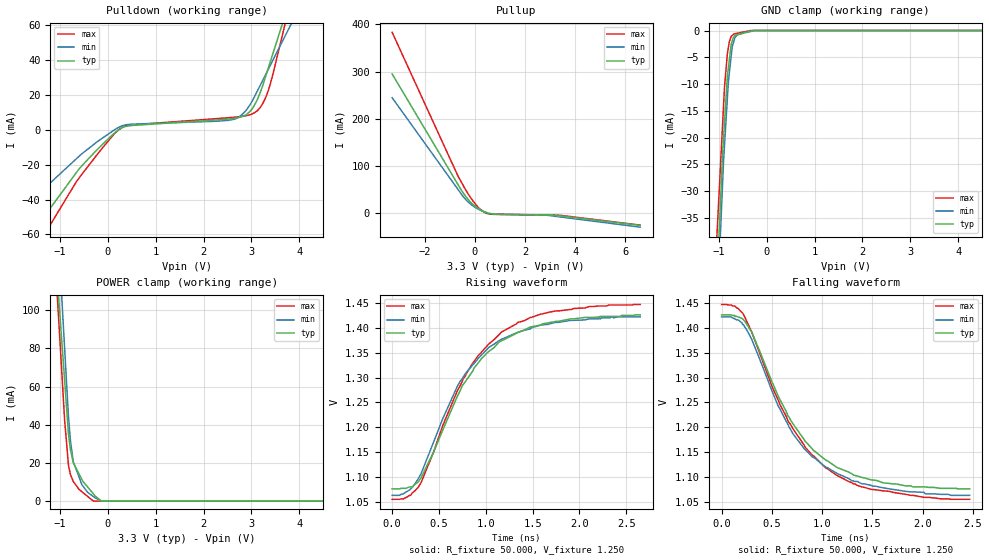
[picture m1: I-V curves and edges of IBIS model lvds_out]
[IBIS Ver]   3.2
[Comment Char] |_char
[File Name]   ads5463.ibs
[File Rev]   3.0
[Source]
| This model file was created by Teraspeed Consulting Group LLC
| (http://www.teraspeed.com/).
[Date]   09-03-2008
[Notes]   Quality Check of this IBIS model: Model Passes IBIS Check
   Model parses into ICX IS. Simulation done with Hyperlynx.
   1. MIN TYP MAX information is based on Temperature and Voltage
   characteristics only.
[Disclaimer]
| This model is designed as an aid for customers of Texas Instruments.
| TI and its licensors and suppliers make no warranties, either expressed
| or implied, with respect to this  model, including the warranties of
| merchantability or fitness for a particular purpose.
| The model is provided solely on an "as is" basis. The entire risk as to
| its quality and performance is with the customer.
[Copyright]
|  (C) Copyright 2008 Texas Instruments Incorporated. All rights reserved.
[Component]   ADS5463
[Manufacturer] TI
[Package]
| variable   typ   min   max
R_pkg  1.550E-01   1.256E-01   2.000E-01
L_pkg  2.837E-09   2.298E-09   3.660E-09
C_pkg  6.953E-13   5.633E-13   8.970E-13
[Pin] signal_name  model_name  R_pin  L_pin C_pin
1   DVDD3   POWER   2.000E-01 3.660E-09 8.970E-13
2   GND   GND   1.871E-01 3.424E-09 8.391E-13
3   AVDD5   POWER   1.751E-01 3.204E-09 7.853E-13
4   NC   NC   1.641E-01 3.003E-09 7.359E-13
5   NC   NC   1.542E-01 2.821E-09 6.915E-13
6   VREF   term   1.455E-01 2.663E-09 6.527E-13
7   GND   GND   1.382E-01 2.530E-09 6.200E-13
8   AVDD5   POWER   1.324E-01 2.423E-09 5.939E-13
9   GND   GND   1.282E-01 2.346E-09 5.749E-13
10  CLK   term   1.256E-01 2.298E-09 5.633E-13
11  _CLK   term   1.256E-01 2.298E-09 5.633E-13
12  GND   GND   1.282E-01 2.346E-09 5.749E-13
13  AVDD5   POWER   1.324E-01 2.423E-09 5.939E-13
14  AVDD5   POWER   1.382E-01 2.530E-09 6.200E-13
15  GND   GND   1.455E-01 2.663E-09 6.527E-13
16  AIN   term   1.542E-01 2.821E-09 6.915E-13
17  _AIN   term   1.641E-01 3.003E-09 7.359E-13
18  GND   GND   1.751E-01 3.204E-09 7.853E-13
19  AVDD5   POWER   1.871E-01 3.424E-09 8.391E-13
20  GND   GND   2.000E-01 3.660E-09 8.970E-13
21  AVDD5   POWER   2.000E-01 3.660E-09 8.970E-13
22  GND   GND   1.871E-01 3.424E-09 8.391E-13
23  AVDD5   POWER   1.751E-01 3.204E-09 7.853E-13
24  GND   GND   1.641E-01 3.003E-09 7.359E-13
25  AVDD5   POWER   1.542E-01 2.821E-09 6.915E-13
26  GND   GND   1.455E-01 2.663E-09 6.527E-13
27  AVDD5   POWER   1.382E-01 2.530E-09 6.200E-13
28  GND   GND   1.324E-01 2.423E-09 5.939E-13
29  RESERVED  term   1.282E-01 2.346E-09 5.749E-13
30  GND   GND   1.256E-01 2.298E-09 5.633E-13
31  AVDD5   POWER   1.256E-01 2.298E-09 5.633E-13
32  GND   GND   1.282E-01 2.346E-09 5.749E-13
33  RESERVED  term   1.324E-01 2.423E-09 5.939E-13
34  GND   GND   1.382E-01 2.530E-09 6.200E-13
35  AVDD3   POWER   1.455E-01 2.663E-09 6.527E-13
36  GND   GND   1.542E-01 2.821E-09 6.915E-13
37  AVDD3   POWER   1.641E-01 3.003E-09 7.359E-13
38  GND   GND   1.751E-01 3.204E-09 7.853E-13
39  AVDD3   POWER   1.871E-01 3.424E-09 8.391E-13
40  GND   GND   2.000E-01 3.660E-09 8.970E-13
41  _OVR   lvds_out  2.000E-01 3.660E-09 8.970E-13
42  OVR   lvds_out  1.871E-01 3.424E-09 8.391E-13
43  NC   NC   1.751E-01 3.204E-09 7.853E-13
44  NC   NC   1.641E-01 3.003E-09 7.359E-13
45  NC   NC   1.542E-01 2.821E-09 6.915E-13
46  NC   NC   1.455E-01 2.663E-09 6.527E-13
47  NC   NC   1.382E-01 2.530E-09 6.200E-13
48  NC   NC   1.324E-01 2.423E-09 5.939E-13
49  NC   NC   1.282E-01 2.346E-09 5.749E-13
50  NC   NC   1.256E-01 2.298E-09 5.633E-13
51  DVDD3   POWER   1.256E-01 2.298E-09 5.633E-13
52  GND   GND   1.282E-01 2.346E-09 5.749E-13
53  _D0   lvds_out  1.324E-01 2.423E-09 5.939E-13
54  D0   lvds_out  1.382E-01 2.530E-09 6.200E-13
55  _D1   lvds_out  1.455E-01 2.663E-09 6.527E-13
56  D1   lvds_out  1.542E-01 2.821E-09 6.915E-13
57  _D2   lvds_out  1.641E-01 3.003E-09 7.359E-13
58  D2   lvds_out  1.751E-01 3.204E-09 7.853E-13
59  _D3   lvds_out  1.871E-01 3.424E-09 8.391E-13
60  D3   lvds_out  2.000E-01 3.660E-09 8.970E-13
61  _D4   lvds_out  2.000E-01 3.660E-09 8.970E-13
62  D4   lvds_out  1.871E-01 3.424E-09 8.391E-13
63  _D5   lvds_out  1.751E-01 3.204E-09 7.853E-13
64  D5   lvds_out  1.641E-01 3.003E-09 7.359E-13
65  GND   GND   1.542E-01 2.821E-09 6.915E-13
66  DVDD3   POWER   1.455E-01 2.663E-09 6.527E-13
67  _D6   lvds_out  1.382E-01 2.530E-09 6.200E-13
68  D6   lvds_out  1.324E-01 2.423E-09 5.939E-13
69  _D7   lvds_out  1.282E-01 2.346E-09 5.749E-13
70  D7   lvds_out  1.256E-01 2.298E-09 5.633E-13
71  _D8   lvds_out  1.256E-01 2.298E-09 5.633E-13
72  D8   lvds_out  1.282E-01 2.346E-09 5.749E-13
73  _D9   lvds_out  1.324E-01 2.423E-09 5.939E-13
74  D9   lvds_out  1.382E-01 2.530E-09 6.200E-13
75  _D10   lvds_out  1.455E-01 2.663E-09 6.527E-13
76  D10   lvds_out  1.542E-01 2.821E-09 6.915E-13
77  D11(msb)  lvds_out  1.641E-01 3.003E-09 7.359E-13
78  _D11(msb) lvds_out  1.751E-01 3.204E-09 7.853E-13
79  _DRY   lvds_out  1.871E-01 3.424E-09 8.391E-13
80  DRY   lvds_out  2.000E-01 3.660E-09 8.970E-13
[Diff Pin] inv_pin vdiff tdelay_typ tdelay_min tdelay_max
10   11   NA   NA   NA   NA
16   17   NA   NA   NA   NA
42   41   NA   NA   NA   NA
54   53   NA   NA   NA   NA
56   55   NA   NA   NA   NA
58   57   NA   NA   NA   NA
60   59   NA   NA   NA   NA
62   61   NA   NA   NA   NA
64   63   NA   NA   NA   NA
68   67   NA   NA   NA   NA
70   69   NA   NA   NA   NA
72   71   NA   NA   NA   NA
74   73   NA   NA   NA   NA
76   75   NA   NA   NA   NA
78   77   NA   NA   NA   NA
80   79   NA   NA   NA   NA
|[Model]   lvds_out
|Model_type Output
|Vref=1.250E+00
|Rref=5.000E+01
|Cref=0.0E+00
|Vmeas=1.250E+00
|C_comp   5.750E-13   5.750E-13   5.750E-13
|[Voltage Range]   3.300E+00   3.000E+00   3.600E+00
|[POWER Clamp Reference]   3.300E+00   3.000E+00   3.600E+00
|[GND Clamp Reference]   0.000E+00   0.000E+00   0.000E+00
|[Pullup Reference]   3.300E+00   3.000E+00   3.600E+00
|[Pulldown Reference]   0.000E+00   0.000E+00   0.000E+00
|[Temperature Range]   25   85   -40
|[GND Clamp]
|-3.60000V   -572.930mA   -589.171mA   -487.460mA
|-3.30000V   -511.353mA   -526.409mA   -434.848mA
|-3.00000V   -449.777mA   -463.646mA   -382.236mA
|-920.000mV   -22.8497mA   -28.4912mA   -17.4611mA
|-900.000mV   -19.9808mA   -24.3070mA   -13.9536mA
|-880.000mV   -17.1119mA   -21.3742mA   -10.4461mA
|-820.000mV   -8.50527mA   -12.5756mA   -4.28502mA
|-800.000mV   -7.01330mA   -9.64279mA   -3.18512mA
|-780.000mV   -5.52134mA   -8.00185mA   -2.08522mA
|-740.000mV   -2.53741mA   -4.71999mA   -1.08921mA
|-720.000mV   -1.97449mA   -3.07905mA   -937.856uA
|-700.000mV   -1.41157mA   -2.46248mA   -786.503uA
|-680.000mV   -1.17109mA   -1.84590mA   -635.150uA
|-660.000mV   -930.622uA   -1.22933mA   -597.788uA
|-600.000mV   -773.576uA   -744.839uA   -485.703uA
|-480.000mV   -459.484uA   -446.904uA   -261.532uA
|-340.000mV   -191.452uA   -99.3119uA   0.00000A
|-300.000mV   -114.871uA   0.00000A   0.00000A
|-240.000mV   0.00000A   0.00000A   0.00000A
|0.00000V   0.00000A   0.00000A   0.00000A
|6.00000V   0.00000A   0.00000A   0.00000A
|6.60000V   0.00000A   0.00000A   0.00000A
|7.20000V   0.00000A   0.00000A   0.00000A
|[POWER Clamp]
|6.90000V   0.00000A   0.00000A   0.00000A
|6.60000V   0.00000A   0.00000A   0.00000A
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[Model] term
Model_type Terminator
C_comp   0  0  0
| variable   typ   min   max
[Voltage Range]   5.00000V  4.75000V  5.25000V
[POWER Clamp Reference]  5.00000V  4.75000V  5.25000V
[GND Clamp Reference]   0.00000V  0.00000V  0.00000V
[Temperature Range]   25   85   -40
| Models and submodels in the file (2): lvds_out (Output), term (Terminator)
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[Model]   lvds_out
Model_type Output
Vref=1.250E+00
Rref=5.000E+01
Cref=0.000E+00
Vmeas=1.250E+00
C_comp   5.750E-13   5.750E-13   5.750E-13
[Voltage Range]   3.300E+00   3.000E+00   3.600E+00
[POWER Clamp Reference]   3.300E+00   3.000E+00   3.600E+00
[GND Clamp Reference]   0.000E+00   0.000E+00   0.000E+00
[Pullup Reference]   3.300E+00   3.000E+00   3.600E+00
[Pulldown Reference]   0.000E+00   0.000E+00   0.000E+00
[Temperature Range]   25   85   -40
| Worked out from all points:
|   slope of the pulldown table from 0 to 0.495 V, typ, clamps not added: 62.3 ohm
|   slope of the pullup table from 0 to 0.495 V, typ, clamps not added: 34.6 ohm
|   GND clamp passes 1 mA (typ) near -0.67 V on its own axis
|   POWER clamp passes 1 mA (typ) near -0.18 V on its own axis
|   rising waveform, R_fixture 50.000, V_fixture 1.250: 20-80 % time 625ps typ, 611ps min, 633ps max; typ from 1.08 V to 1.43 V
|   falling waveform, R_fixture 50.000, V_fixture 1.250: 20-80 % time 589ps typ, 592ps min, 618ps max; typ from 1.43 V to 1.08 V
[GND Clamp]
-3.6V     -572.9mA   -589.2mA   -487.5mA
-3V       -449.8mA   -463.6mA   -382.2mA
-920mV    -22.85mA   -28.49mA   -17.46mA
-880mV    -17.11mA   -21.37mA   -10.45mA
-820mV    -8.505mA   -12.58mA   -4.285mA
-800mV    -7.013mA   -9.643mA   -3.185mA
-740mV    -2.537mA   -4.72mA    -1.089mA
-720mV    -1.974mA   -3.079mA   -937.9uA
-680mV    -1.171mA   -1.846mA   -635.1uA
-600mV    -773.6uA   -744.8uA   -485.7uA
-300mV    -114.9uA   0A         0A
7.2V      0A         0A         0A
[POWER Clamp]
-3.9V     1.11A      1.418A     1.314A
-1.06V    118.9mA    151.2mA    110.1mA
-900mV    63.05mA    79.93mA    42.28mA
-820mV    35.13mA    44.28mA    18.78mA
-780mV    27.06mA    31.92mA    14.06mA
-720mV    20.13mA    20.69mA    10.31mA
-600mV    14.29mA    12.64mA    6.161mA
-540mV    11.36mA    8.609mA    4.929mA
-420mV    7.4mA      4.593mA    2.464mA
-300mV    3.814mA    2.407mA    13.88uA
-130mV    0A         109.5uA    0A
6.9V      0A         0A         0A
[Pullup]
-3.3V     294.8mA    244.3mA    383.1mA
-680mV    60.74mA    50.34mA    79.07mA
-420mV    39.13mA    31.77mA    53.95mA
-200mV    24.33mA    19.94mA    34.66mA
80mV      11.61mA    9.586mA    15.06mA
280mV     5.195mA    4.064mA    4.892mA
460mV     1.02mA     117.7uA    -657.3uA
640mV     -1.534mA   -2.074mA   -2.761mA
2.8V      -4.191mA   -4.545mA   -4.458mA
3.4V      -6.395mA   -8.558mA   -5.006mA
6.6V      -26.52mA   -30.22mA   -25.85mA
[Pulldown]
-3.3V     -123.6mA   -83.8mA    -149.9mA
-1.02V    -38.2mA    -25.9mA    -46.34mA
-560mV    -21.24mA   -14.22mA   -26.22mA
100mV     -2.912mA   -815.3uA   -3.547mA
320mV     1.471mA    2.465mA    1.663mA
2.52V     6.143mA    5.369mA    6.894mA
2.88V     8.433mA    10.79mA    7.987mA
3.06V     13.87mA    18.68mA    9.644mA
3.2V      22.44mA    26.32mA    13.37mA
3.32V     32.53mA    32.84mA    19.92mA
3.46V     44.57mA    40.45mA    33.02mA
6.6V      314.6mA    211.1mA    388.3mA
[Rising Waveform]
R_fixture = 50.000
V_fixture = 1.250
V_fixture_min = 1.250
V_fixture_max = 1.250
|  time   V(typ)   V(min)   V(max)
0s        1.076V     1.063V     1.055V
187.5ps   1.08V      1.074V     1.063V
277.5ps   1.09V      1.096V     1.079V
442.5ps   1.15V      1.17V      1.15V
537.5ps   1.193V     1.216V     1.202V
725ps     1.273V     1.292V     1.283V
917.5ps   1.329V     1.338V     1.344V
1.177ns   1.375V     1.378V     1.393V
1.717ns   1.412V     1.41V      1.433V
2.65ns    1.426V     1.422V     1.447V
[Falling Waveform]
R_fixture = 50.000
V_fixture = 1.250
V_fixture_min = 1.250
V_fixture_max = 1.250
|  time   V(typ)   V(min)   V(max)
0s        1.426V     1.422V     1.447V
132.5ps   1.423V     1.418V     1.444V
242.5ps   1.41V      1.398V     1.417V
297.5ps   1.392V     1.378V     1.393V
507.5ps   1.288V     1.27V      1.279V
672.5ps   1.22V      1.2V       1.209V
827.5ps   1.173V     1.156V     1.161V
1.043ns   1.133V     1.119V     1.117V
1.49ns    1.094V     1.083V     1.075V
2.47ns    1.076V     1.063V     1.055V
[Ramp]
dV/dt_r   2.6026E+00/4.4370E-10   2.4232E+00/5.2280E-10   2.7828E+00/4.1440E-10
dV/dt_f   2.6023E+00/5.8967E-10   2.4228E+00/5.7637E-10   2.7824E+00/6.0701E-10
R_load = 50
